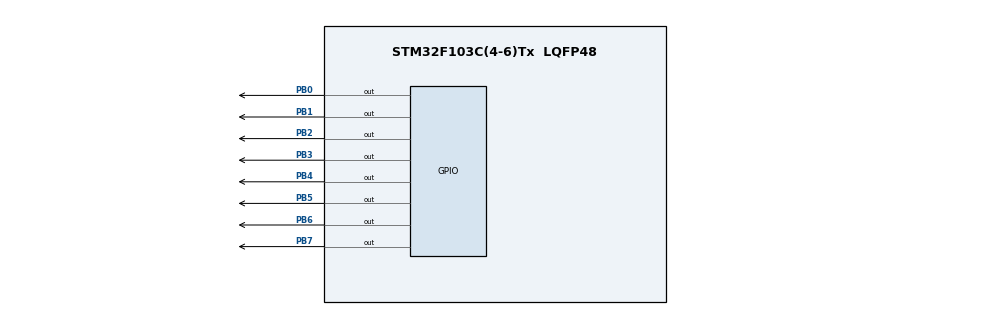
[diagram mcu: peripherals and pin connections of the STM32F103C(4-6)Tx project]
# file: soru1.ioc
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Mcu.Family=STM32F1
Mcu.Name=STM32F103C(4-6)Tx
Mcu.Package=LQFP48
NVIC.PriorityGroup=NVIC_PRIORITYGROUP_4
PB0.Signal=GPIO_Output
PB1.Signal=GPIO_Output
PB2.Signal=GPIO_Output
PB3.Signal=GPIO_Output
PB4.Signal=GPIO_Output
PB5.Signal=GPIO_Output
PB6.Signal=GPIO_Output
PB7.Signal=GPIO_Output
PD0-OSC_IN.Mode=HSE-External-Oscillator
PD0-OSC_IN.Signal=RCC_OSC_IN
PD1-OSC_OUT.Mode=HSE-External-Oscillator
PD1-OSC_OUT.Signal=RCC_OSC_OUT
ProjectManager.HeapSize=0x200
ProjectManager.StackSize=0x400
ProjectManager.TargetToolchain=STM32CubeIDE
RCC.AHBFreq_Value=8000000
RCC.APB1CLKDivider=RCC_HCLK_DIV2
RCC.APB1Freq_Value=4000000
RCC.APB1TimFreq_Value=8000000
RCC.APB2Freq_Value=8000000
RCC.APB2TimFreq_Value=8000000
RCC.HCLKFreq_Value=8000000
RCC.PLLSourceVirtual=RCC_PLLSOURCE_HSE
RCC.SYSCLKSource=RCC_SYSCLKSOURCE_HSE
RCC.USBFreq_Value=16000000
VP_SYS_VS_ND.Mode=No_Debug
board=custom

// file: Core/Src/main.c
/* USER CODE BEGIN Header */
/**
  ******************************************************************************
  * @file           : main.c
  * @brief          : Main program body
  ******************************************************************************
  * @attention
  *
  * <h2><center>&copy; Copyright (c) 2020 STMicroelectronics.
  * All rights reserved.</center></h2>
  *
  * This software component is licensed by ST under BSD 3-Clause license,
  * the "License"; You may not use this file except in compliance with the
  * License. You may obtain a copy of the License at:
  *                        opensource.org/licenses/BSD-3-Clause
  *
  ******************************************************************************
  */
/* USER CODE END Header */

#include "main.h"

void SystemClock_Config(void);
static void MX_GPIO_Init(void);

int main(void)
{

  /* MCU Configuration--------------------------------------------------------*/

  /* Reset of all peripherals, Initializes the Flash interface and the Systick. */
  HAL_Init();

  /* Configure the system clock */
  SystemClock_Config();

  /* Initialize all configured peripherals */
  MX_GPIO_Init();

  /* Infinite loop */
  /* USER CODE BEGIN WHILE */
  while (1)
  {
	  GPIOB->ODR=0x00;
	  HAL_Delay(500);
	  GPIOB->ODR&= ~(GPIO_PIN_1 | GPIO_PIN_2 | GPIO_PIN_3| GPIO_PIN_4| GPIO_PIN_5| GPIO_PIN_6);
      GPIOB->ODR|= GPIO_PIN_0 | GPIO_PIN_7;
      HAL_Delay(500);
 	  GPIOB->ODR&= ~( GPIO_PIN_2 | GPIO_PIN_3| GPIO_PIN_4| GPIO_PIN_5);
  	  GPIOB->ODR|= GPIO_PIN_0| GPIO_PIN_1 | GPIO_PIN_6 | GPIO_PIN_7;
	  HAL_Delay(500);
      GPIOB->ODR&= ~( GPIO_PIN_3| GPIO_PIN_4);
  	  GPIOB->ODR|= GPIO_PIN_0| GPIO_PIN_1 | GPIO_PIN_2| GPIO_PIN_5| GPIO_PIN_6 | GPIO_PIN_7;
  	  HAL_Delay(500);
	  GPIOB->ODR&= ~( GPIO_PIN_2 | GPIO_PIN_3| GPIO_PIN_4| GPIO_PIN_5);
	  GPIOB->ODR|= GPIO_PIN_0| GPIO_PIN_1 | GPIO_PIN_6 | GPIO_PIN_7;
	  HAL_Delay(500);
	  GPIOB->ODR&= ~(GPIO_PIN_1 | GPIO_PIN_2 | GPIO_PIN_3| GPIO_PIN_4| GPIO_PIN_5| GPIO_PIN_6);
	  GPIOB->ODR|= GPIO_PIN_0 | GPIO_PIN_7;
	  HAL_Delay(500);
    /* USER CODE END WHILE */

  }
}

void SystemClock_Config(void)
{
  RCC_OscInitTypeDef RCC_OscInitStruct = {0};
  RCC_ClkInitTypeDef RCC_ClkInitStruct = {0};

  /** Initializes the CPU, AHB and APB busses clocks
  */
  RCC_OscInitStruct.OscillatorType = RCC_OSCILLATORTYPE_HSE;
  RCC_OscInitStruct.HSEState = RCC_HSE_ON;
  RCC_OscInitStruct.PLL.PLLState = RCC_PLL_NONE;
  if (HAL_RCC_OscConfig(&RCC_OscInitStruct) != HAL_OK)
  {
    Error_Handler();
  }
  /** Initializes the CPU, AHB and APB busses clocks
  */
  RCC_ClkInitStruct.ClockType = RCC_CLOCKTYPE_HCLK|RCC_CLOCKTYPE_SYSCLK
                              |RCC_CLOCKTYPE_PCLK1|RCC_CLOCKTYPE_PCLK2;
  RCC_ClkInitStruct.SYSCLKSource = RCC_SYSCLKSOURCE_HSE;
  RCC_ClkInitStruct.AHBCLKDivider = RCC_SYSCLK_DIV1;
  RCC_ClkInitStruct.APB1CLKDivider = RCC_HCLK_DIV2;
  RCC_ClkInitStruct.APB2CLKDivider = RCC_HCLK_DIV1;

  if (HAL_RCC_ClockConfig(&RCC_ClkInitStruct, FLASH_LATENCY_0) != HAL_OK)
  {
    Error_Handler();
  }
}

static void MX_GPIO_Init(void)
{
  GPIO_InitTypeDef GPIO_InitStruct = {0};

  /* GPIO Ports Clock Enable */
  __HAL_RCC_GPIOD_CLK_ENABLE();
  __HAL_RCC_GPIOB_CLK_ENABLE();

  /*Configure GPIO pin Output Level */
  HAL_GPIO_WritePin(GPIOB, GPIO_PIN_0|GPIO_PIN_1|GPIO_PIN_2|GPIO_PIN_3
                          |GPIO_PIN_4|GPIO_PIN_5|GPIO_PIN_6|GPIO_PIN_7, GPIO_PIN_RESET);

  /*Configure GPIO pins : PB0 PB1 PB2 PB3
                           PB4 PB5 PB6 PB7 */
  GPIO_InitStruct.Pin = GPIO_PIN_0|GPIO_PIN_1|GPIO_PIN_2|GPIO_PIN_3
                          |GPIO_PIN_4|GPIO_PIN_5|GPIO_PIN_6|GPIO_PIN_7;
  GPIO_InitStruct.Mode = GPIO_MODE_OUTPUT_PP;
  GPIO_InitStruct.Pull = GPIO_NOPULL;
  GPIO_InitStruct.Speed = GPIO_SPEED_FREQ_LOW;
  HAL_GPIO_Init(GPIOB, &GPIO_InitStruct);

}

void Error_Handler(void)
{
}

/************************ (C) COPYRIGHT STMicroelectronics *****END OF FILE****/
